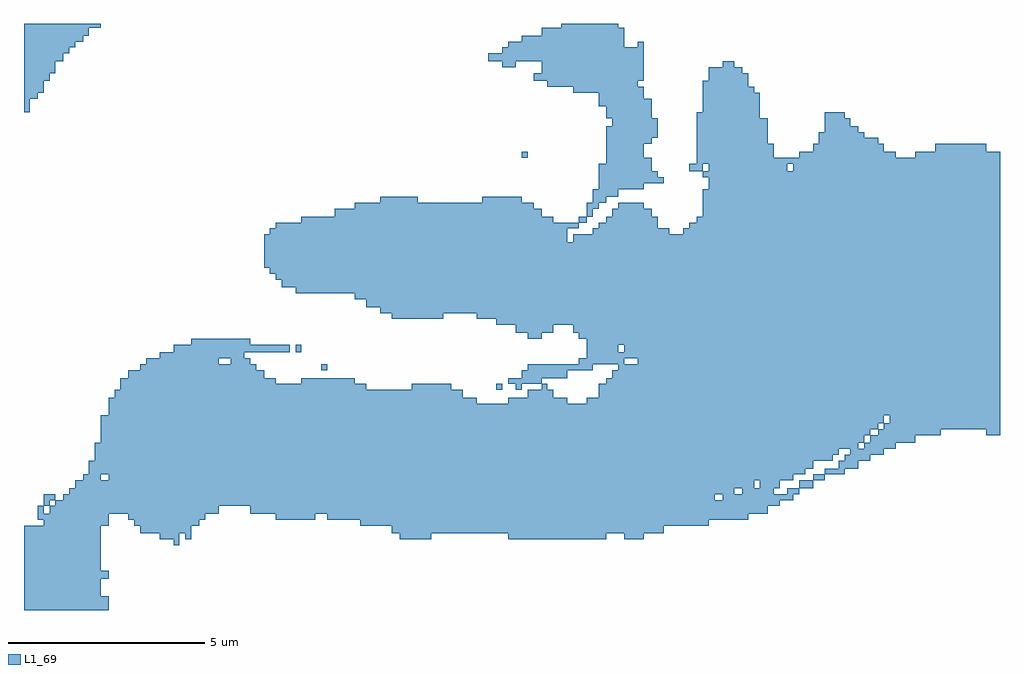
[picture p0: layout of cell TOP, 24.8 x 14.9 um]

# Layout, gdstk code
import gdstk
lib = gdstk.Library(unit=1e-6, precision=1e-09)
def R(c, l, rs):  # rectangles x0, y0, x1, y1
    for r in rs: c.add(gdstk.rectangle(r[:2], r[2:], *l))
def P(c, l, *ps):  # polygons
    for p in ps: c.add(gdstk.Polygon(p, *l))
L1_69 = (1, 69)

top = lib.new_cell('TOP')
R(top, L1_69, [(12,5.6,12.15,5.75), (7.55,6.1,7.7,6.25), (6.9,6.55,7.05,6.75), (12.65,11.5,12.8,11.65)])
P(top, L1_69, [(0,12.65),(0,14.9),(1.95,14.9),(1.95,14.8),(1.65,14.8),(1.65,14.6),(1.5,14.6),(1.5,14.45),(1.3,14.45),(1.3,14.3),(1.15,14.3),(1.15,14.15),(1,14.15),(1,13.95),(0.8,13.95),(0.8,13.65),(0.65,13.65),(0.65,13.45),(0.5,13.45),(0.5,13.15),(0.35,13.15),(0.35,13),(0.15,13),(0.15,12.65)],
  [(0,0),(0,2.15),(0.5,2.15),(0.5,2.3),(0.35,2.3),(0.35,2.65),(0.5,2.65),(0.5,2.45),(0.65,2.45),(0.65,2.65),(0.5,2.65),(0.5,2.8),(0.65,2.8),(0.65,2.65),(0.8,2.65),(0.8,2.8),(0.5,2.8),(0.5,2.95),(0.8,2.95),(0.8,2.8),(1,2.8),(1,2.95),(17.55,2.95),(17.55,2.8),(17.75,2.8),(17.75,2.95),(1.15,2.95),(1.15,3.1),(18.05,3.1),(18.05,2.95),(18.25,2.95),(18.25,3.1),(1.3,3.1),(1.3,3.3),(1.5,3.3),(1.5,3.45),(1.95,3.45),(1.95,3.3),(18.55,3.3),(18.55,3.1),(18.7,3.1),(18.7,3.3),(2.15,3.3),(2.15,3.45),(1.65,3.45),(1.65,3.8),(1.8,3.8),(1.8,4.1),(20.7,4.1),(20.7,3.95),(20.55,3.95),(20.55,3.8),(20.05,3.8),(20.05,3.6),(19.85,3.6),(19.85,3.45),(19.55,3.45),(19.55,3.3),(19.2,3.3),(19.2,3.1),(19.05,3.1),(19.05,2.95),(19.4,2.95),(19.4,3.1),(19.7,3.1),(19.7,3.3),(20.05,3.3),(20.05,3.45),(20.35,3.45),(20.35,3.6),(20.7,3.6),(20.7,3.8),(20.85,3.8),(20.85,3.95),(21,3.95),(21,4.1),(1.8,4.1),(1.8,4.25),(21.2,4.25),(21.2,4.1),(21.35,4.1),(21.35,4.25),(1.95,4.25),(1.95,4.45),(21.35,4.45),(21.35,4.25),(21.5,4.25),(21.5,4.45),(1.95,4.45),(1.95,4.6),(21.5,4.6),(21.5,4.45),(21.7,4.45),(21.7,4.6),(1.95,4.6),(1.95,4.75),(21.7,4.75),(21.7,4.6),(21.85,4.6),(21.85,4.75),(1.95,4.75),(1.95,4.95),(21.85,4.95),(21.85,4.75),(22,4.75),(22,4.95),(2.15,4.95),(2.15,5.4),(2.3,5.4),(2.3,5.6),(2.45,5.6),(2.45,5.9),(2.65,5.9),(2.65,6.1),(2.95,6.1),(2.95,6.25),(3.1,6.25),(3.1,6.4),(4.95,6.4),(4.95,6.25),(5.25,6.25),(5.25,6.4),(3.45,6.4),(3.45,6.55),(3.8,6.55),(3.8,6.75),(4.25,6.75),(4.25,6.9),(5.75,6.9),(5.75,6.75),(6.75,6.75),(6.75,6.55),(5.6,6.55),(5.6,6.4),(5.75,6.4),(5.75,6.25),(5.9,6.25),(5.9,6.1),(6.1,6.1),(6.1,5.9),(6.4,5.9),(6.4,5.75),(7.05,5.75),(7.05,5.9),(8.4,5.9),(8.4,5.75),(8.7,5.75),(8.7,5.6),(9.85,5.6),(9.85,5.75),(10.85,5.75),(10.85,5.6),(11.15,5.6),(11.15,5.4),(11.5,5.4),(11.5,5.25),(12.3,5.25),(12.3,5.4),(12.8,5.4),(12.8,5.6),(13.15,5.6),(13.15,5.75),(12.65,5.75),(12.65,5.6),(12.5,5.6),(12.5,5.75),(12.3,5.75),(12.3,5.9),(12.65,5.9),(12.65,6.1),(12.8,6.1),(12.8,6.25),(14.45,6.25),(14.45,6.1),(13.8,6.1),(13.8,5.9),(13.15,5.9),(13.15,5.75),(13.3,5.75),(13.3,5.6),(13.45,5.6),(13.45,5.4),(13.8,5.4),(13.8,5.25),(14.3,5.25),(14.3,5.4),(14.6,5.4),(14.6,5.75),(14.8,5.75),(14.8,5.9),(14.95,5.9),(14.95,6.1),(15.1,6.1),(15.1,6.25),(14.1,6.25),(14.1,6.4),(15.25,6.4),(15.25,6.25),(15.6,6.25),(15.6,6.4),(14.3,6.4),(14.3,6.75),(15.1,6.75),(15.1,6.55),(15.25,6.55),(15.25,6.75),(14.3,6.75),(14.3,6.9),(14.1,6.9),(14.1,7.05),(13.95,7.05),(13.95,7.25),(13.45,7.25),(13.45,7.05),(13.15,7.05),(13.15,6.9),(12.8,6.9),(12.8,7.05),(12.5,7.05),(12.5,7.25),(12,7.25),(12,7.4),(11.5,7.4),(11.5,7.55),(10.65,7.55),(10.65,7.4),(9.35,7.4),(9.35,7.55),(9.05,7.55),(9.05,7.7),(8.7,7.7),(8.7,7.9),(8.4,7.9),(8.4,8.05),(6.9,8.05),(6.9,8.2),(6.55,8.2),(6.55,8.4),(6.4,8.4),(6.4,8.55),(6.25,8.55),(6.25,8.7),(6.1,8.7),(6.1,9.55),(6.25,9.55),(6.25,9.7),(6.4,9.7),(6.4,9.85),(7.05,9.85),(7.05,10),(7.9,10),(7.9,10.2),(8.4,10.2),(8.4,10.35),(9.05,10.35),(9.05,10.5),(10,10.5),(10,10.35),(11.65,10.35),(11.65,10.5),(12.65,10.5),(12.65,10.35),(12.95,10.35),(12.95,10.2),(13.15,10.2),(13.15,10),(13.45,10),(13.45,9.85),(14.1,9.85),(14.1,10),(14.3,10),(14.3,10.35),(14.45,10.35),(14.45,10.7),(14.6,10.7),(14.6,11.35),(14.8,11.35),(14.8,12.3),(14.95,12.3),(14.95,12.5),(14.8,12.5),(14.8,12.8),(14.6,12.8),(14.6,13.15),(13.95,13.15),(13.95,13.3),(13.3,13.3),(13.3,13.45),(12.95,13.45),(12.95,13.65),(13.15,13.65),(13.15,13.95),(12.5,13.95),(12.5,13.8),(12.15,13.8),(12.15,13.95),(11.8,13.95),(11.8,14.15),(12.15,14.15),(12.15,14.3),(12.3,14.3),(12.3,14.45),(12.65,14.45),(12.65,14.6),(13.15,14.6),(13.15,14.8),(13.65,14.8),(13.65,14.9),(15.1,14.9),(15.1,14.8),(15.25,14.8),(15.25,14.3),(15.6,14.3),(15.6,14.45),(15.75,14.45),(15.75,13.45),(15.6,13.45),(15.6,13.3),(15.75,13.3),(15.75,13),(15.95,13),(15.95,12.5),(16.1,12.5),(16.1,12),(15.95,12),(15.95,11.85),(15.75,11.85),(15.75,11.5),(15.95,11.5),(15.95,11.15),(16.1,11.15),(16.1,11),(16.25,11),(16.25,10.85),(15.75,10.85),(15.75,10.7),(15.1,10.7),(15.1,10.5),(14.8,10.5),(14.8,10.35),(14.6,10.35),(14.6,10.2),(14.45,10.2),(14.45,10),(14.3,10),(14.3,9.85),(14.1,9.85),(14.1,9.7),(13.8,9.7),(13.8,9.35),(13.95,9.35),(13.95,9.55),(14.45,9.55),(14.45,9.7),(14.6,9.7),(14.6,9.85),(14.8,9.85),(14.8,10),(14.95,10),(14.95,10.2),(15.1,10.2),(15.1,10.35),(15.75,10.35),(15.75,10.2),(15.95,10.2),(15.95,10),(16.1,10),(16.1,9.7),(16.4,9.7),(16.4,9.55),(16.75,9.55),(16.75,9.7),(16.9,9.7),(16.9,9.85),(17.1,9.85),(17.1,10),(17.25,10),(17.25,10.7),(17.4,10.7),(17.4,11),(17.25,11),(17.25,11.15),(16.9,11.15),(16.9,11.35),(17.25,11.35),(17.25,11.15),(17.4,11.15),(17.4,11.35),(19.4,11.35),(19.4,11.15),(19.55,11.15),(19.55,11.35),(17.1,11.35),(17.1,12.65),(17.25,12.65),(17.25,13.45),(17.4,13.45),(17.4,13.8),(17.75,13.8),(17.75,13.95),(18.05,13.95),(18.05,13.8),(18.25,13.8),(18.25,13.65),(18.4,13.65),(18.4,13.3),(18.55,13.3),(18.55,13.15),(18.7,13.15),(18.7,12.5),(18.9,12.5),(18.9,11.85),(19.05,11.85),(19.05,11.5),(19.7,11.5),(19.7,11.65),(20.05,11.65),(20.05,11.85),(20.2,11.85),(20.2,12.15),(20.35,12.15),(20.35,12.65),(20.85,12.65),(20.85,12.5),(21,12.5),(21,12.3),(21.2,12.3),(21.2,12.15),(21.35,12.15),(21.35,12),(21.7,12),(21.7,11.85),(21.85,11.85),(21.85,11.65),(22.15,11.65),(22.15,11.5),(22.65,11.5),(22.65,11.65),(23.15,11.65),(23.15,11.85),(24.45,11.85),(24.45,11.65),(24.8,11.65),(24.8,4.45),(24.45,4.45),(24.45,4.6),(23.3,4.6),(23.3,4.45),(22.65,4.45),(22.65,4.25),(22.15,4.25),(22.15,4.1),(21.85,4.1),(21.85,3.95),(21.5,3.95),(21.5,3.8),(21.2,3.8),(21.2,3.6),(20.85,3.6),(20.85,3.45),(20.35,3.45),(20.35,3.3),(20.05,3.3),(20.05,3.1),(19.7,3.1),(19.7,2.95),(19.55,2.95),(19.55,2.8),(19.2,2.8),(19.2,2.65),(18.9,2.65),(18.9,2.45),(18.4,2.45),(18.4,2.3),(17.4,2.3),(17.4,2.15),(16.25,2.15),(16.25,1.95),(15.75,1.95),(15.75,1.8),(15.25,1.8),(15.25,1.95),(14.8,1.95),(14.8,1.8),(12.3,1.8),(12.3,1.95),(10.35,1.95),(10.35,1.8),(9.55,1.8),(9.55,1.95),(9.35,1.95),(9.35,2.15),(8.55,2.15),(8.55,2.3),(7.7,2.3),(7.7,2.45),(7.4,2.45),(7.4,2.3),(6.4,2.3),(6.4,2.45),(5.75,2.45),(5.75,2.65),(4.95,2.65),(4.95,2.45),(4.6,2.45),(4.6,2.3),(4.45,2.3),(4.45,2.15),(4.25,2.15),(4.25,1.8),(4.1,1.8),(4.1,1.95),(3.95,1.95),(3.95,1.65),(3.8,1.65),(3.8,1.8),(3.45,1.8),(3.45,1.95),(2.95,1.95),(2.95,2.15),(2.8,2.15),(2.8,2.3),(2.65,2.3),(2.65,2.45),(2.15,2.45),(2.15,2.15),(1.95,2.15),(1.95,1),(2.15,1),(2.15,0.8),(1.95,0.8),(1.95,0.35),(2.15,0.35),(2.15,0)])

lib.write_gds('TOP.gds')
